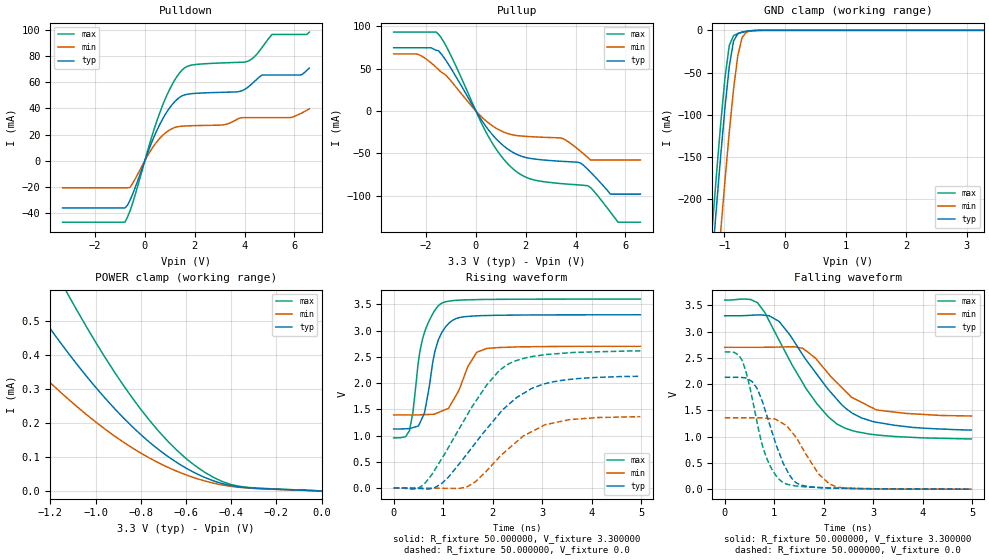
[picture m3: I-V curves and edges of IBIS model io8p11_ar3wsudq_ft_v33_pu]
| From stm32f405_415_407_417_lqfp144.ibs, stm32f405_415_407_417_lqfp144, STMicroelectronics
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|   Model io8p11_ar3wsudq_ft_v33_pu
[Model]  io8p11_ar3wsudq_ft_v33_pu
Model_type I/O
Polarity   Non-Inverting
Enable   Active-Low
Vinl =   0.990000V
Vinh =   2.310000V
Vmeas =  1.650000V
Cref =   30.000000pF
Rref =   100.000000M
Vref =   0.0V
C_comp   3.857500pF   3.760500pF   3.941700pF
[Temperature Range]   25.000000   0.125000k   -40.000000
[Pullup Reference]   3.300000V   2.700000V   3.600000V
[Pulldown Reference]   0.0V   0.0V   0.0V
[POWER Clamp Reference]   3.300000V   2.700000V   3.600000V
[GND Clamp Reference]   0.0V   0.0V   0.0V
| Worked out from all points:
|   slope of the pulldown table from 0 to 0.495 V, typ, clamps not added: 20.9 ohm
|   slope of the pullup table from 0 to 0.495 V, typ, clamps not added: 22.6 ohm
|   GND clamp passes 1 mA (typ) near -0.62 V on its own axis
|   POWER clamp passes 1 mA (typ) near -1.88 V on its own axis
|   rising waveform, R_fixture 50.000000, V_fixture 3.300000: 20-80 % time 276ps typ, 389ps min, 269ps max; typ from 1.12 V to 3.3 V
|   rising waveform, R_fixture 50.000000, V_fixture 0.0: 20-80 % time 1.16ns typ, 998ps min, 1.05ns max; typ from 0.001 V to 2.13 V
|   falling waveform, R_fixture 50.000000, V_fixture 3.300000: 20-80 % time 1.06ns typ, 878ps min, 1.03ns max; typ from 3.3 V to 1.12 V
|   falling waveform, R_fixture 50.000000, V_fixture 0.0: 20-80 % time 473ps typ, 562ps min, 410ps max; typ from 2.13 V to 0.001 V
[Pulldown]
|Voltage   I(typ)   I(min)   I(max)
-3.3V     -36.18mA   -20.77mA   -47.07mA
-800mV    -36.18mA   -20.77mA   -47.07mA
-600mV    -30.5mA    -20.52mA   -38.69mA
700mV     31.4mA     19.11mA    41.71mA
1.2V      45.15mA    25.37mA    61.75mA
1.6V      50.35mA    26.5mA     71.06mA
3.1V      52.28mA    27.26mA    74.76mA
4.1V      55.65mA    32.9mA     75.79mA
4.7V      65.5mA     32.9mA     86.49mA
5.1V      65.5mA     32.9mA     96.53mA
6.3V      65.8mA     36.47mA    96.53mA
6.6V      70.85mA    39.68mA    98.34mA
[Pullup]
|Voltage   I(typ)   I(min)   I(max)
-3.3V     74.6mA     67.42mA    93.17mA
-2.3V     74.6mA     66.59mA    93.17mA
-1.5V     71.1mA     49.01mA    90.67mA
-1V       50.41mA    35.45mA    65.35mA
500mV     -22.06mA   -14mA      -30.03mA
1.6V      -50.64mA   -28.81mA   -70.96mA
3.5V      -59.52mA   -32.72mA   -85.91mA
4.2V      -61.52mA   -47.6mA    -87.45mA
4.5V      -69.2mA    -55.15mA   -88.43mA
5.4V      -98.2mA    -57.9mA    -119.4mA
5.7V      -98.2mA    -57.9mA    -131.3mA
6.6V      -98.2mA    -57.9mA    -131.3mA
[GND_clamp]
|Voltage   I(typ)   I(min)   I(max)
-3.3V     -2.332A    -2.407A    -2.312A
-1.2V     -270.2mA   -361.4mA   -232.1mA
-1.13V    -207.3mA   -298.1mA   -169mA
-1.06V    -146.7mA   -236.2mA   -108.8mA
-990mV    -90.18mA   -176.4mA   -54.96mA
-920mV    -42.21mA   -120mA     -17.68mA
-850mV    -12.57mA   -69.47mA   -6.265mA
-780mV    -3.971mA   -30.01mA   -3.886mA
-710mV    -2.1mA     -8.615mA   -2.382mA
-640mV    -1.148mA   -2.283mA   -1.22mA
-570mV    -524uA     -821.5uA   -476.8uA
3.28V     0A         0A         0A
[POWER_clamp]
|Voltage   I(typ)   I(min)   I(max)
-3.28V    1.18mA     571.5uA    1.791mA
-3.08V    1.154mA    558.1uA    1.753mA
-1.84V    973.4uA    557.7uA    1.433mA
-1.32V    593.1uA    370.2uA    831.6uA
-1.28V    553.9uA    355.9uA    778.7uA
-1.12V    406uA      270.4uA    577.3uA
-960mV    275.2uA    183.2uA    395.9uA
-800mV    166.2uA    111.7uA    240.7uA
-680mV    101.4uA    69.6uA     146.3uA
-560mV    53.02uA    38.04uA    74.62uA
-360mV    11.49uA    10.29uA    13.1uA
0V        0A         0A         0A
[Ramp]
| variable   typ   min   max
dV/dt_r  1.26469/1.15951n   0.80727/0.99196n   1.56136/1.04842n
dV/dt_f  1.28070/1.04377n   0.77178/0.86640n   1.57114/1.02207n
R_load = 50.000000
[Rising Waveform]
R_fixture= 50.000000
V_fixture= 3.300000
V_fixture_min= 2.700000
V_fixture_max= 3.600000
|time   V(typ)   V(min)   V(max)
0s        1.125V     1.393V     955.5mV
320.3ps   1.133V     1.393V     1.096V
510.5ps   1.199V     1.394V     2.477V
650.7ps   1.574V     1.399V     3.042V
830.8ps   2.59V      1.411V     3.383V
971ps     2.96V      1.465V     3.52V
1.111ns   3.134V     1.522V     3.559V
1.682ns   3.28V      2.587V     3.589V
1.882ns   3.286V     2.659V     3.592V
4.985ns   3.3V       2.7V       3.599V
[Rising Waveform]
R_fixture= 50.000000
V_fixture= 0.0
V_fixture_min= 0.0
V_fixture_max= 0.0
|time   V(typ)   V(min)   V(max)
0s        1.299mV    1.125mV    1.756mV
550.6ps   -9.392mV   928uV      27.16mV
951ps     72.55mV    -2.714mV   528.7mV
1.491ns   662.9mV    27.15mV    1.4V
1.882ns   1.131V     332.1mV    1.964V
2.272ns   1.55V      709.6mV    2.337V
2.613ns   1.798V     987.3mV    2.466V
3.073ns   1.991V     1.211V     2.542V
3.564ns   2.07V      1.304V     2.577V
4.985ns   2.129V     1.36V      2.612V
[Falling Waveform]
R_fixture= 50.000000
V_fixture= 3.300000
V_fixture_min= 2.700000
V_fixture_max= 3.600000
|time   V(typ)   V(min)   V(max)
0s        3.3V       2.7V       3.599V
660.7ps   3.315V     2.7V       3.55V
810.8ps   3.309V     2.701V     3.363V
1.101ns   3.19V      2.705V     2.832V
1.582ns   2.549V     2.679V     2.015V
1.862ns   2.187V     2.463V     1.628V
2.272ns   1.705V     2.024V     1.237V
2.583ns   1.443V     1.74V      1.113V
3.073ns   1.273V     1.507V     1.032V
4.985ns   1.125V     1.393V     955.5mV
[Falling Waveform]
R_fixture= 50.000000
V_fixture= 0.0
V_fixture_min= 0.0
V_fixture_max= 0.0
|time   V(typ)   V(min)   V(max)
0s        2.129V     1.36V      2.612V
350.4ps   2.125V     1.359V     2.456V
510.5ps   2.073V     1.359V     1.935V
660.7ps   1.908V     1.358V     1.246V
860.9ps   1.374V     1.348V     562.4mV
1.191ns   478.8mV    1.242V     123.2mV
1.491ns   99.44mV    910mV      57.23mV
1.902ns   31.84mV    286.2mV    32.4mV
2.282ns   19.21mV    40.56mV    19.96mV
4.985ns   1.299mV    1.125mV    1.756mV
